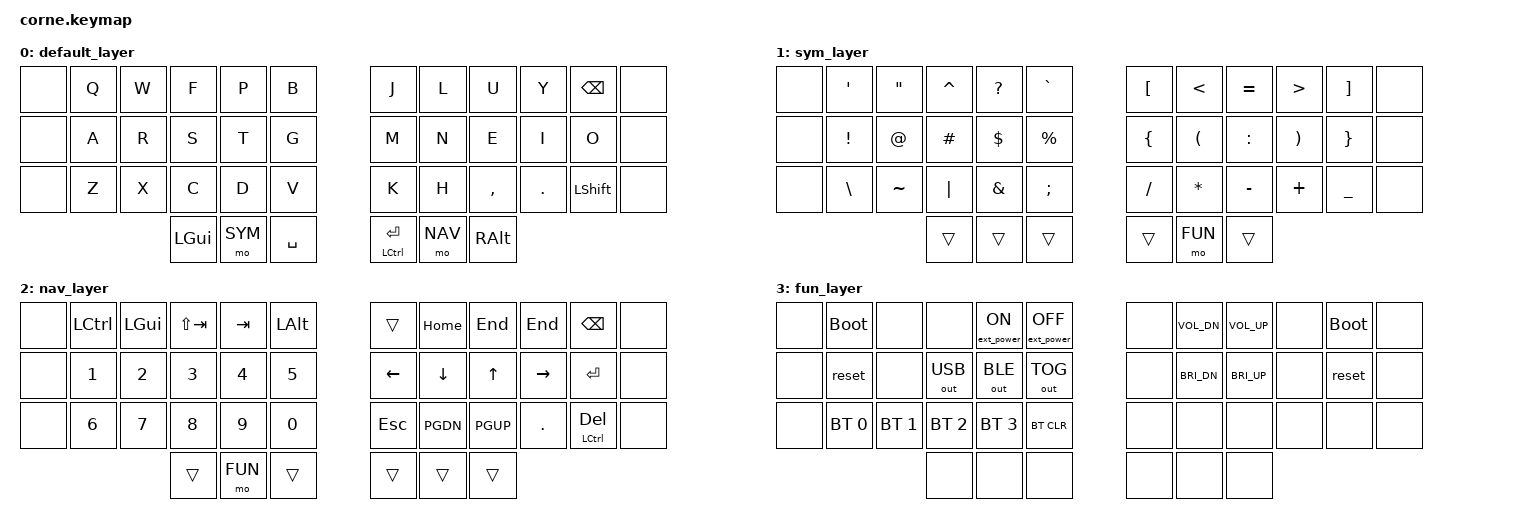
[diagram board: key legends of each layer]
#include <behaviors.dtsi>
#include <dt-bindings/zmk/keys.h>
#include <dt-bindings/zmk/outputs.h>
#include <dt-bindings/zmk/bt.h>
#include <dt-bindings/zmk/ext_power.h>

#define SYM    1
#define NAV    2
#define FUN    3

#define SFTAB LS(TAB) /* Shift-tab */

/ {
  behaviors { // {{{
    th: tap_hold {
      compatible = "zmk,behavior-hold-tap";
      label = "TAP_HOLD";
      #binding-cells = <2>;
      tapping_term_ms = <150>;
      flavor = "hold-preferred";
      bindings = <&kp>, <&kp>;
    };
  }; // }}}

  keymap {
    compatible = "zmk,keymap";

    default_layer { // Base (Colemak-DH) {{{
      // ┌─────────────────────┬─────────────────────┐
      // │ q   w   f   p   b   │ j   l   u   y   ⌫   │
      // │ a   r   s   t   g   │ m   n   e   i   o   │
      // │ z   x   c   d   v   │ k   h   ,   .   ↵   │
      // └─────────────────────┴─────────────────────┘
      //         │ ⌘   Sym ⇧   │ ␣   Nav ⌥   │
      //         └─────────────┴─────────────┘ 
      bindings = <
        &none &kp Q       &kp W     &kp F     &kp P     &kp B       &kp J        &kp L     &kp U     &kp Y     &kp BSPC  &none
        &none &kp A       &kp R     &kp S     &kp T     &kp G       &kp M        &kp N     &kp E     &kp I     &kp O     &none
        &none &kp Z       &kp X     &kp C     &kp D     &kp V       &kp K        &kp H     &kp COMMA &kp DOT   &kp LSHFT &none
                              &kp LGUI  &mo SYM   &kp SPACE   &th LCTL RET &mo NAV   &kp RALT
      >;
    }; // }}}

    sym_layer { // Symbols {{{
      // ┌─────────────────────┬─────────────────────┐
      // │ '   "   ^   ?   `   │ [   <   =   >   ]   │
      // │ !   @   #   $   %   │ {   (   :   )   }   │
      // │ \   ~   |   &   ;   │ /   *   -   +   _   │
      // └─────────────────────┴─────────────────────┘
      //         │             │      Fn     │
      //         └─────────────┴─────────────┘
      bindings = <
        &none &kp QUOT  &kp DQT   &kp CARET &kp QMARK &kp GRAVE   &kp LBKT      &kp LT    &kp EQUAL &kp GT    &kp RBKT  &none
        &none &kp EXCL  &kp AT    &kp HASH  &kp DLLR  &kp PRCNT   &kp LBRC      &kp LPAR  &kp COLON &kp RPAR  &kp RBRC  &none
        &none &kp BSLH  &kp TILDE &kp PIPE  &kp AMPS  &kp SEMI    &kp SLASH     &kp STAR  &kp MINUS &kp PLUS  &kp UNDER &none
                            &trans    &trans    &trans      &trans        &mo FUN   &trans
      >;
    }; // }}}

    nav_layer { // Navigation {{{
      // ┌─────────────────────┬────────────────────┐
      // │ ^   ⌘   ⇤   ⇥   ⌥   │ p↑  hom ▲  end ⌫   │
      // │ 1   2   3   4   5   │ ◀   ▼   ▲  ▶   ↵   │
      // │ 6   7   8   9   0   │ esc p↓  p↑ .   del │
      // └─────────────────────┴────────────────────┘
      //         │     Fn      │             │
      //         └─────────────┴─────────────┘ 
      bindings = <
        &none &kp LCTRL &kp LGUI  &kp SFTAB &kp TAB   &kp LALT     &trans        &kp HOME  &kp END   &kp END   &kp BSPC      &none
        &none &kp N1    &kp N2    &kp N3    &kp N4    &kp N5       &kp LEFT      &kp DOWN  &kp UP    &kp RIGHT &kp RET       &none
        &none &kp N6    &kp N7    &kp N8    &kp N9    &kp N0       &kp ESC       &kp PGDN  &kp PGUP  &kp DOT   &th LCTL DEL  &none
                            &trans    &mo FUN   &trans       &trans        &trans    &trans
      >;
    }; // }}}

    fun_layer { // Function {{{
      // ┌─────────────────────┬─────────────────────┐
      // │ f11 f12 .   .   .   │ .   .   .   .   b⁺  │
      // │ f1  f2  f3  f4  f5  │ .   .   .   .   b⁻  │
      // │ f6  f7  f8  f9  f10 │ v⁻  v⁺  ply nxt .   │
      // └─────────────────────┴─────────────────────┘
      bindings = <
        &none &bootloader  &none        &none        &ext_power EP_ON &ext_power EP_OFF &none     &kp C_VOL_DN  &kp C_VOL_UP  &none  &bootloader  &none
        &none &reset       &none        &out OUT_USB &out OUT_BLE     &out OUT_TOG      &none     &kp C_BRI_DN  &kp C_BRI_UP  &none  &reset       &none
        &none &bt BT_SEL 0 &bt BT_SEL 1 &bt BT_SEL 2 &bt BT_SEL 3     &bt BT_CLR        &none     &none         &none         &none  &none        &none
                                        &none        &none            &none             &none     &none         &none
      >;
    }; // }}}
  };
};

// vim:ft=c
